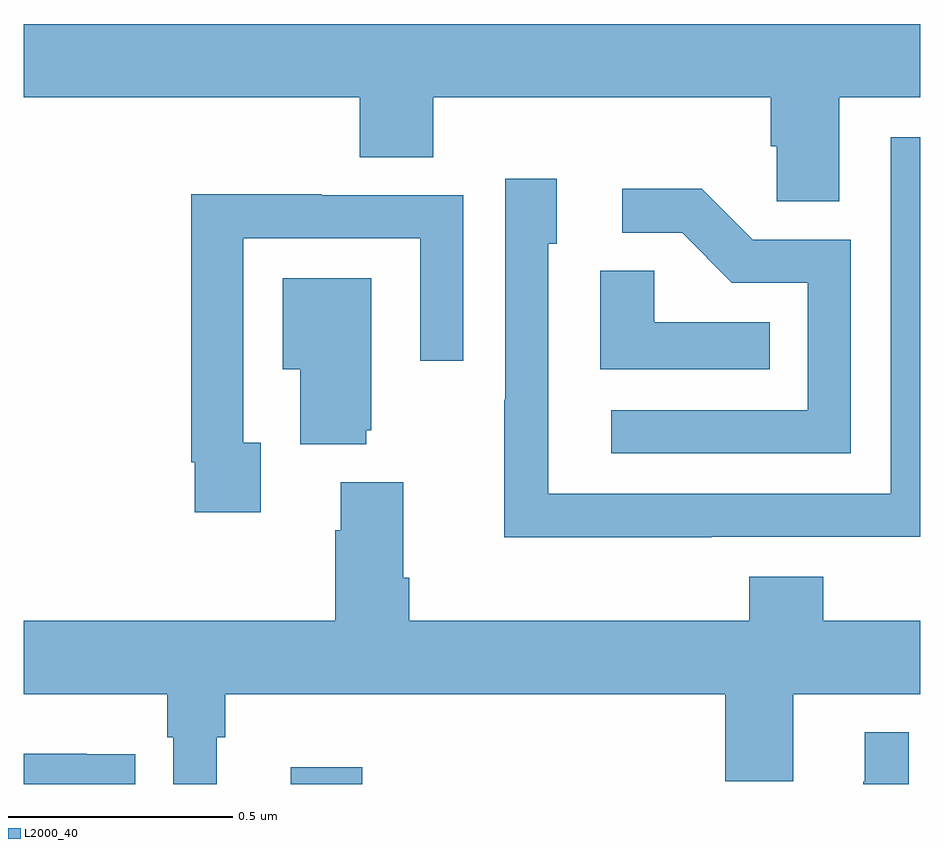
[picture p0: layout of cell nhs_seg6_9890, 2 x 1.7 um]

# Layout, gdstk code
import gdstk
lib = gdstk.Library(unit=1e-6, precision=1e-09)
def R(c, l, rs):  # rectangles x0, y0, x1, y1
    for r in rs: c.add(gdstk.rectangle(r[:2], r[2:], *l))
def P(c, l, *ps):  # polygons
    for p in ps: c.add(gdstk.Polygon(p, *l))
L2000_40 = (2000, 40)

nhs_seg6_9890 = lib.new_cell('nhs_seg6_9890')
R(nhs_seg6_9890, L2000_40, [(240.596,916.5,240.755,916.537)])
P(nhs_seg6_9890, L2000_40, [(241.819,918.032),(242,918.032),(242,918.196),(240,918.196),(240,918.032),(240.749,918.032),(240.749,917.899),(240.914,917.899),(240.914,918.032),(241.667,918.032),(241.667,917.923),(241.68,917.923),(241.68,917.8),(241.819,917.8)],
  [(241.535,917.052),(242,917.052),(242,917.943),(241.935,917.943),(241.935,917.148),(241.17,917.148),(241.17,917.706),(241.189,917.706),(241.189,917.851),(241.074,917.851),(241.074,917.357),(241.072,917.357),(241.072,917.051),(241.535,917.051)],
  [(241.845,917.715),(241.626,917.715),(241.513,917.828),(241.335,917.828),(241.335,917.73),(241.469,917.73),(241.58,917.619),(241.749,917.619),(241.749,917.334),(241.311,917.334),(241.311,917.238),(241.845,917.238)],
  [(240.529,917.262),(240.489,917.262),(240.489,917.718),(240.885,917.718),(240.885,917.445),(240.981,917.445),(240.981,917.814),(240.665,917.814),(240.665,917.816),(240.373,917.816),(240.373,917.218),(240.381,917.218),(240.381,917.106),(240.529,917.106)],
  [(241.664,917.53),(241.407,917.53),(241.407,917.645),(241.286,917.645),(241.286,917.426),(241.664,917.426)],
  [(240.764,917.289),(240.775,917.289),(240.775,917.629),(240.578,917.629),(240.578,917.426),(240.617,917.426),(240.617,917.258),(240.764,917.258)],
  [(240.43,916.604),(240.449,916.604),(240.449,916.7),(241.565,916.7),(241.565,916.506),(241.717,916.506),(241.717,916.7),(242,916.7),(242,916.864),(241.784,916.864),(241.784,916.963),(241.619,916.963),(241.619,916.864),(240.86,916.864),(240.86,916.96),(240.847,916.96),(240.847,917.173),(240.707,917.173),(240.707,917.066),(240.695,917.066),(240.695,916.864),(240,916.864),(240,916.7),(240.32,916.7),(240.32,916.604),(240.333,916.604),(240.333,916.5),(240.43,916.5)],
  [(241.975,916.615),(241.877,916.615),(241.877,916.505),(241.873,916.505),(241.873,916.5),(241.975,916.5)],
  [(240.248,916.566),(240.14,916.566),(240.14,916.567),(240,916.567),(240,916.5),(240.248,916.5)])

lib.write_gds('nhs_seg6_9890.gds')
